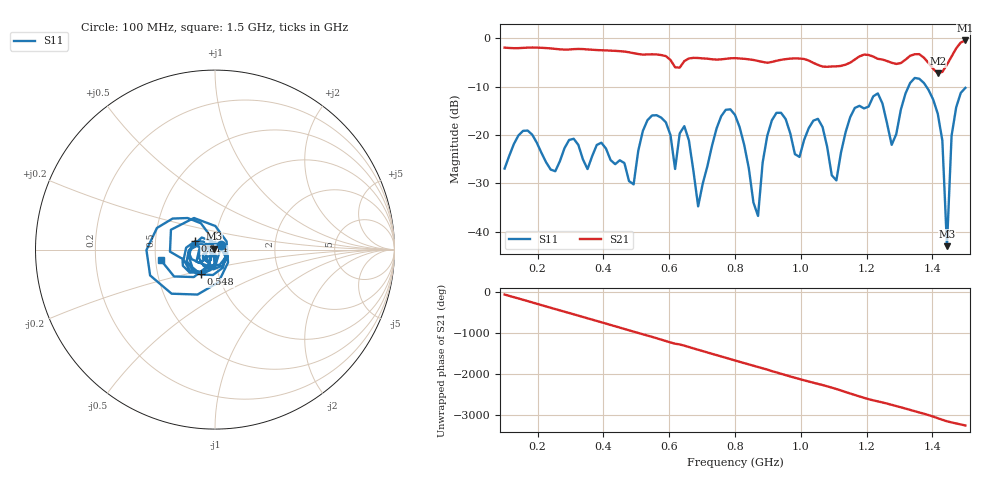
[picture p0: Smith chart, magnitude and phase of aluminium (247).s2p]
! NanoVNA-App
! Date: 2025-09-25 14:57:12
! Start: 100MHz Stop: 1,5GHz Points: 101
! S-Parameter data: F S11 S21 S12 S22
# Hz S RI R 50
!  Frequency  S11_Real  S11_Imag  S21_Real  S21_Imag  S12_Real  S12_Imag  S22_Real  S22_Imag
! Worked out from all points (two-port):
!   101 points, 100 MHz to 1.5 GHz, reference 50 ohm
!   highest |S21| = -0.44 dB at 1.5 GHz (marker M1); lowest = -7.2 dB at 1.416 GHz (marker M2)
!   |S21| within 3 dB of the highest: start of sweep to 573.3 MHz; 1.461 GHz to end of sweep (the widest 2 of 4)
!   lowest |S11| = -43.0 dB at 1.444 GHz (marker M3), VSWR 1.01, Z = 49.5 + j0.481 ohm
!   |S11| at or under -10 dB: start of sweep to 1.327 GHz; 1.381 GHz to end of sweep
!   S12 and S22 are empty: the file has one direction only
!   S11 on the Smith chart (normalised r, x): 100 MHz: 1.07, +0.06; 548 MHz: 0.82, -0.23; 814 MHz: 0.80, +0.07; 1.5 GHz: 0.53, -0.07
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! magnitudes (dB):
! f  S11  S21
! 100 MHz  -27.0  -1.9
! 338 MHz  -25.1  -2.2
! 492 MHz  -30.2  -3.1
! 548 MHz  -16.0  -3.3
! 576 MHz  -16.4  -3.5
! 618 MHz  -27.0  -6.0
! 646 MHz  -18.2  -4.7
! 688 MHz  -34.8  -4.1
! 800 MHz  -15.9  -4.1
! 814 MHz  -18.4  -4.2
! 870 MHz  -36.8  -4.7
! 912 MHz  -17.0  -4.9
! 1.038 GHz  -17.0  -5.1
! 1.108 GHz  -29.4  -5.8
! 1.164 GHz  -14.4  -4.4
! 1.276 GHz  -22.0  -5.1
! 1.346 GHz  -8.2  -3.3
! 1.416 GHz  -15.6  -7.2
! 1.43 GHz  -21.2  -6.9
! 1.444 GHz  -43.0  -5.4
! 1.458 GHz  -20.2  -3.8
! 1.5 GHz  -10.2  -0.4
